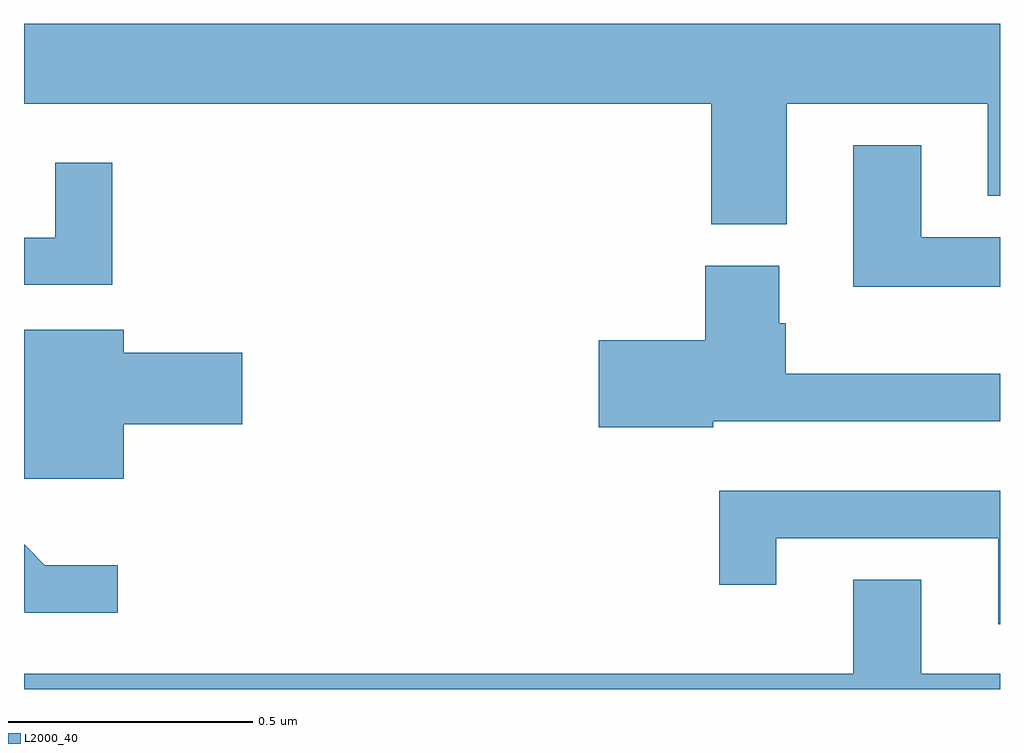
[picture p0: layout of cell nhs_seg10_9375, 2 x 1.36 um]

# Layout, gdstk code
import gdstk
lib = gdstk.Library(unit=1e-6, precision=1e-09)
def P(c, l, *ps):  # polygons
    for p in ps: c.add(gdstk.Polygon(p, *l))
L2000_40 = (2000, 40)

nhs_seg10_9375 = lib.new_cell('nhs_seg10_9375')
P(nhs_seg10_9375, L2000_40, [(229,1249.7),(230.408,1249.7),(230.408,1249.453),(230.563,1249.453),(230.563,1249.7),(230.975,1249.7),(230.975,1249.511),(231,1249.511),(231,1249.864),(229,1249.864)],
  [(231,1249.426),(230.839,1249.426),(230.839,1249.615),(230.699,1249.615),(230.699,1249.325),(231,1249.325)],
  [(229.181,1249.579),(229.064,1249.579),(229.064,1249.425),(229,1249.425),(229,1249.329),(229.181,1249.329)],
  [(230.412,1249.049),(231,1249.049),(231,1249.147),(230.561,1249.147),(230.561,1249.25),(230.548,1249.25),(230.548,1249.368),(230.396,1249.368),(230.396,1249.215),(230.178,1249.215),(230.178,1249.037),(230.412,1249.037)],
  [(229.204,1249.043),(229.447,1249.043),(229.447,1249.19),(229.204,1249.19),(229.204,1249.237),(229.001,1249.237),(229.001,1248.932),(229.204,1248.932)],
  [(231,1248.907),(230.425,1248.907),(230.425,1248.714),(230.542,1248.714),(230.542,1248.81),(230.996,1248.81),(230.996,1248.633),(231,1248.633)],
  [(229.192,1248.754),(229.043,1248.754),(229,1248.797),(229,1248.659),(229.002,1248.657),(229.192,1248.657)],
  [(231,1248.532),(230.839,1248.532),(230.839,1248.725),(230.699,1248.725),(230.699,1248.532),(229,1248.532),(229,1248.5),(231,1248.5)])

lib.write_gds('nhs_seg10_9375.gds')
